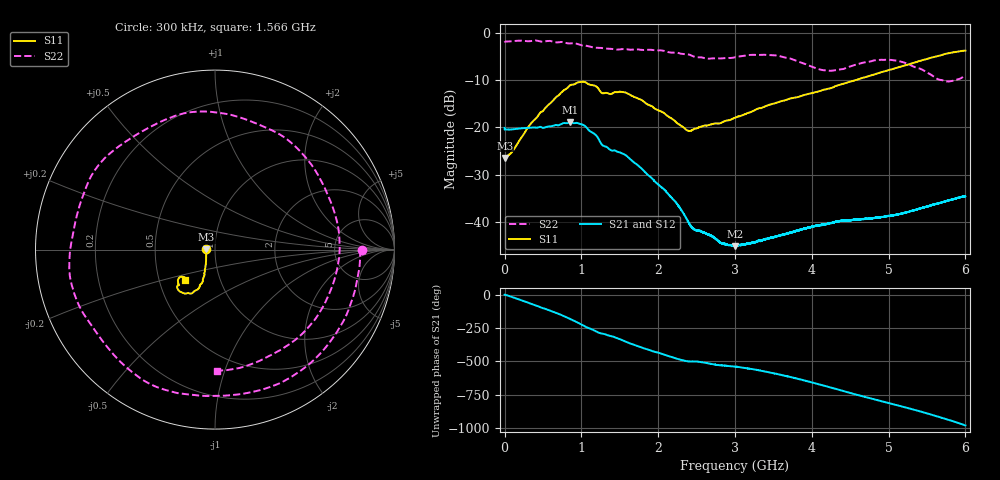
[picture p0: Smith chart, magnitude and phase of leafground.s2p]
!  8/6/2020  01:38:20
! Ref Plane: 0.000 mm
# MHZ S MA R  50
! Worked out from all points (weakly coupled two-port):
!   10001 points, 300 kHz to 6 GHz, reference 50 ohm
!   highest |S21| = -18.93 dB at 855.9 MHz (marker M1); lowest = -45.1 dB at 3 GHz (marker M2)
!   lowest |S11| = -26.4 dB at 900 kHz (marker M3), VSWR 1.10, Z = 45.5 + j0.0811 ohm
!   |S11| at or under -10 dB: start of sweep to 4.568 GHz
!   |S22| runs from -10.3 to -1.6 dB; largest |S21 - S12| = 0.0022
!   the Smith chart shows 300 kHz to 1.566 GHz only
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0.3  0.04772 178.4  0.09881 -0.9  0.09657 -0.8  0.8163 -0.3
0.9  0.04766 178.9  0.09492 -0.4  0.09542 -0.3  0.8103 -0.4
368.0816  0.1161 -118.0  0.09999 -74.2  0.09995 -74.2  0.8271 -106.1
605.6697  0.1838 -111.6  0.103 -123.7  0.1031 -123.7  0.8181 -172.9
855.8572  0.2803 -119.0  0.1131 176.1  0.1131 176.0  0.7735 114.4
1000.45  0.3036 -128.8  0.1078 135.3  0.1078 135.3  0.741 73.1
1259.637  0.2335 -139.5  0.06686 67.9  0.0669 67.8  0.6938 -1.9
1543.423  0.2363 -133.9  0.05255 14.8  0.05259 14.8  0.6742 -83.0
1793.61  0.1929 -135.3  0.03614 -39.5  0.0362 -39.5  0.6605 -150.4
2000.6  0.1518 -128.1  0.02488 -76.3  0.02489 -76.5  0.6533 155.5
2259.187  0.1093 -114.8  0.01494 -123.7  0.01499 -123.9  0.6149 87.5
2543.573  0.101 -77.0  0.008034 -145.6  0.008027 -145.7  0.5527 5.6
2783.561  0.1099 -57.9  0.006273 -169.7  0.006315 -169.9  0.5369 -67.4
3000.15  0.1266 -41.4  0.005543 178.7  0.005633 179.2  0.552 -130.5
3238.338  0.1495 -27.9  0.006063 158.7  0.006063 159.0  0.5862 167.9
3528.724  0.1812 -15.1  0.006995 126.4  0.006992 126.2  0.5777 98.2
4000.3  0.2309 2.8  0.008882 60.6  0.008935 60.9  0.4387 -25.9
4229.489  0.2579 11.4  0.009683 25.0  0.009623 24.8  0.398 -101.2
4497.075  0.3043 19.1  0.01041 -17.9  0.01048 -17.9  0.4408 174.6
5000.45  0.4041 30.2  0.01159 -94.2  0.01153 -94.3  0.5181 51.9
5518.224  0.5351 35.6  0.01471 -174.7  0.01469 -174.6  0.3742 -75.1
6000  0.6494 31.2  0.01869 97.9  0.01874 98.0  0.3576 121.0
